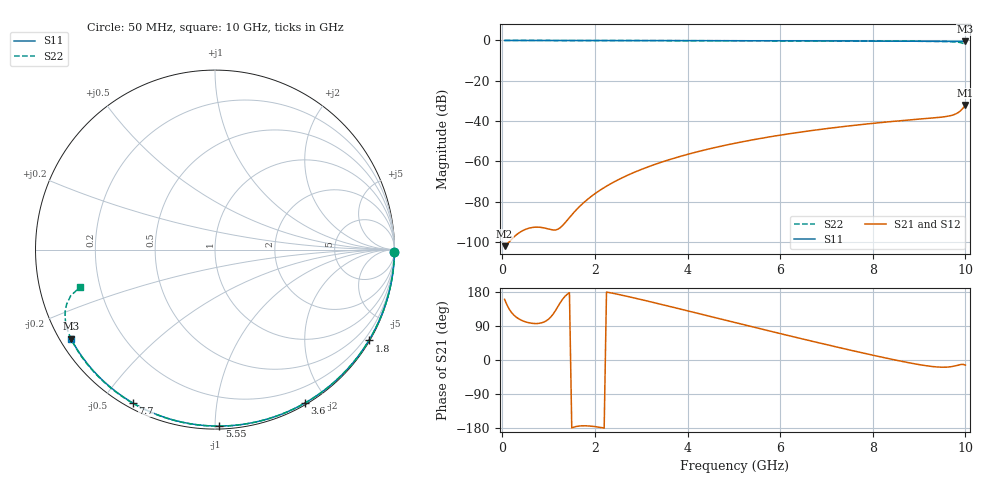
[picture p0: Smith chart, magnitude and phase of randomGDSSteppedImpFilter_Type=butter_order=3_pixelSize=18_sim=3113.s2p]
! freq	dB(S11)	phase(S11)	dB(S12)	phase(S12)
!  dB(S21)	phase(S21)	dB(S22)	phase(S22)
!S-par simulation data
#  GHz  S  DB  R 50
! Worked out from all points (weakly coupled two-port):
!   200 points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, 50 MHz to 10 GHz, reference 50 ohm
!   highest |S21| = -31.94 dB at 10 GHz (marker M1); lowest = -102.0 dB at 50 MHz (marker M2)
!   lowest |S11| = -0.5 dB at 10 GHz (marker M3), VSWR 34.56, Z = 1.56 - j14.2 ohm
!   |S11| at or under -10 dB: nowhere
!   |S22| runs from -2.1 to 0.0 dB; largest |S21 - S12| = 0
!   S11 on the Smith chart (normalised r, x): 50 MHz: open; 1.8 GHz: 0.03, -3.66; 3.6 GHz: 0.02, -1.75; 5.55 GHz: 0.02, -1.02; 7.7 GHz: 0.02, -0.60; 10 GHz: 0.03, -0.28
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0.05  -0.00 -0.9  -101.99 160.0  -101.99 160.0  -0.00 -0.9
0.85  -0.02 -14.6  -92.73 98.1  -92.73 98.1  -0.01 -14.9
1.75  -0.04 -29.7  -80.57 -173.6  -80.57 -173.6  -0.04 -30.4
1.8  -0.04 -30.6  -79.56 -173.6  -79.56 -173.6  -0.04 -31.2
2.1  -0.05 -35.5  -74.40 -177.5  -74.40 -177.5  -0.05 -36.3
2.45  -0.05 -41.3  -69.69 174.5  -69.69 174.5  -0.05 -42.1
2.9  -0.06 -48.5  -64.90 162.3  -64.90 162.3  -0.06 -49.5
3.4  -0.07 -56.4  -60.63 147.7  -60.63 147.7  -0.08 -57.6
3.6  -0.08 -59.6  -59.15 141.8  -59.15 141.8  -0.08 -60.8
4.3  -0.10 -70.3  -54.68 120.8  -54.68 120.8  -0.10 -71.8
5.05  -0.12 -81.4  -50.84 98.1  -50.84 98.1  -0.13 -83.1
5.55  -0.14 -88.7  -48.68 83.1  -48.68 83.1  -0.15 -90.5
6.1  -0.17 -96.4  -46.59 66.8  -46.59 66.8  -0.17 -98.5
6.7  -0.20 -104.7  -44.61 49.2  -44.61 49.2  -0.21 -107.0
7.7  -0.27 -118.2  -41.83 20.9  -41.83 20.9  -0.27 -121.1
8.35  -0.32 -126.8  -40.31 3.4  -40.31 3.4  -0.33 -130.2
9.15  -0.40 -137.2  -38.72 -15.1  -38.72 -15.1  -0.42 -142.0
9.65  -0.46 -143.8  -37.44 -18.3  -37.44 -18.3  -0.58 -151.4
9.75  -0.47 -145.1  -36.81 -16.4  -36.81 -16.4  -0.68 -154.1
9.85  -0.49 -146.4  -35.68 -13.3  -35.68 -13.3  -0.89 -157.6
9.95  -0.50 -147.7  -33.53 -11.5  -33.53 -11.5  -1.47 -162.2
10  -0.50 -148.3  -31.94 -13.6  -31.94 -13.6  -2.15 -164.5
